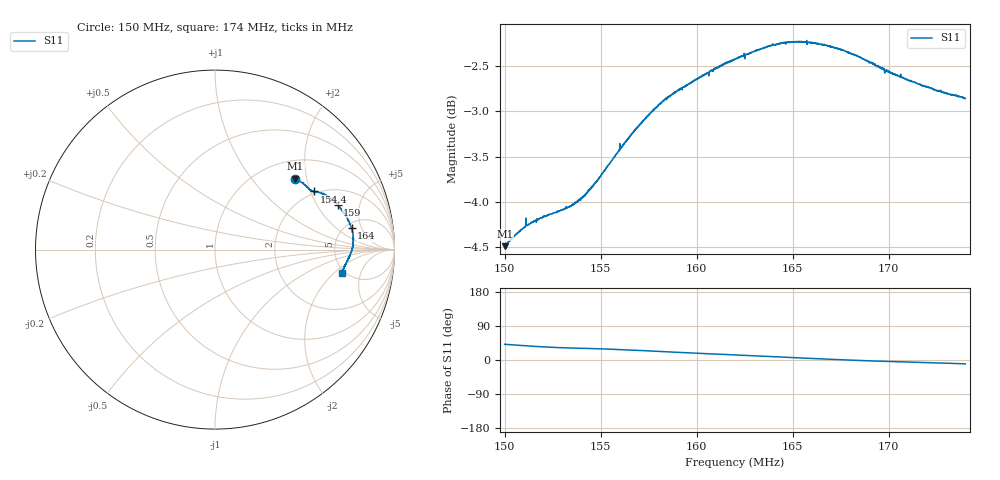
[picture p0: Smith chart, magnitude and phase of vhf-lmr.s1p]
! Calibrated averaged scanner-service zoom
# Hz S RI R 50
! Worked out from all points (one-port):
!   2001 points, 150 MHz to 174 MHz, reference 50 ohm
!   lowest |S11| = -4.5 dB at 150 MHz (marker M1), VSWR 3.96, Z = 69.7 + j85.5 ohm
!   |S11| at or under -10 dB: nowhere
!   S11 on the Smith chart (normalised r, x): 150 MHz: 1.39, +1.71; 154.4 MHz: 1.93, +2.12; 159 MHz: 2.88, +3.06; 164 MHz: 5.73, +3.34; 174 MHz: 4.75, -2.52
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1.5e8  0.447 0.3956
1.50024e8  0.447 0.3952
1.50504e8  0.4655 0.3856
1.51212e8  0.4887 0.3701
1.52124e8  0.5113 0.3501
1.53e8  0.5275 0.3348
1.53756e8  0.5397 0.3267
1.5438e8  0.5521 0.3242
1.54992e8  0.568 0.3205
1.56e8  0.6025 0.3145
1.5672e8  0.6202 0.3019
1.57416e8  0.6411 0.2892
1.58292e8  0.6656 0.2697
1.59e8  0.6817 0.2519
1.59048e8  0.6826 0.2504
1.60824e8  0.7171 0.2065
1.62e8  0.7358 0.1754
1.6296e8  0.7491 0.149
1.63992e8  0.7614 0.1183
1.65e8  0.7683 0.0863
1.65948e8  0.7709 0.0564
1.66644e8  0.7701 0.0352
1.67508e8  0.7655 0.0107
1.68e8  0.7625 -0.00346
1.6932e8  0.7505 -0.0356
1.71e8  0.7338 -0.0686
1.72836e8  0.718 -0.1023
1.74e8  0.7082 -0.1277
